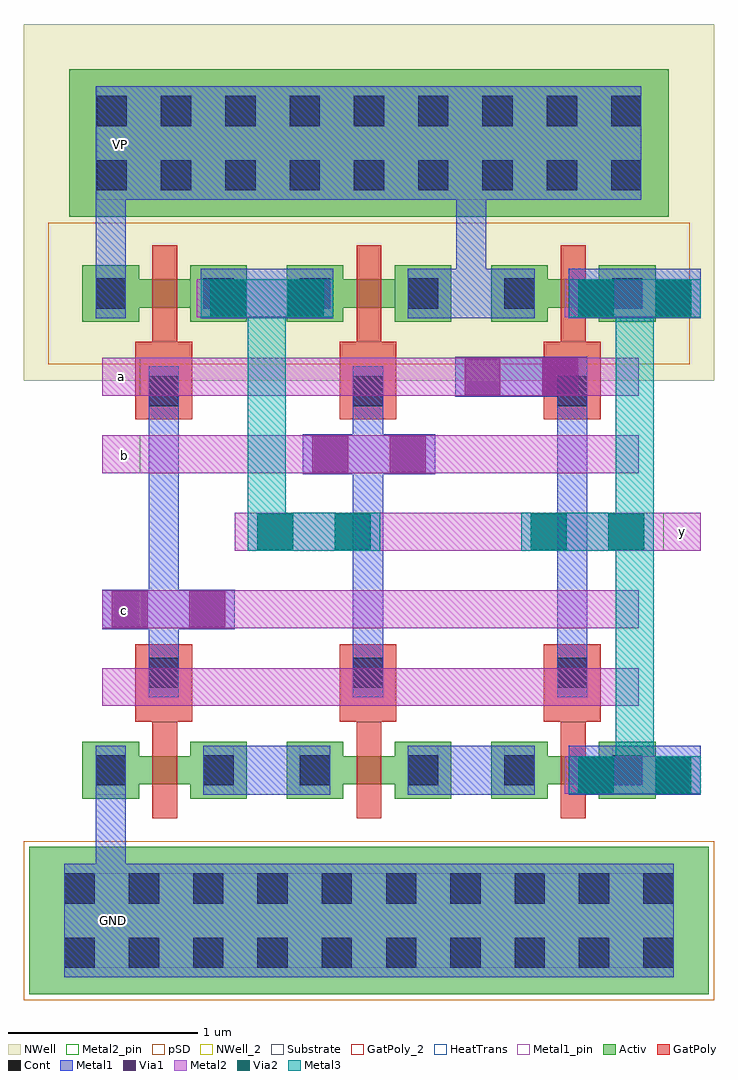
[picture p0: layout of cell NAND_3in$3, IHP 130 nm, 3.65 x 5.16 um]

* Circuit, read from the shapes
.subckt NAND_3in$3 GND VP a b c y
XM1 n1 c GND GND sg13_lv_nmos w=0.15u l=0.13u
XM2 n2 b n1 GND sg13_lv_nmos w=0.15u l=0.13u
XM3 y a n2 GND sg13_lv_nmos w=0.15u l=0.13u
XM4 y c VP VP sg13_lv_pmos w=0.15u l=0.13u
XM5 VP b y VP sg13_lv_pmos w=0.15u l=0.13u
XM6 y a VP VP sg13_lv_pmos w=0.15u l=0.13u
.ends

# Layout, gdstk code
from math import pi, radians
import gdstk
lib = gdstk.Library(unit=1e-6, precision=1e-09)
def R(c, l, rs):  # rectangles x0, y0, x1, y1
    for r in rs: c.add(gdstk.rectangle(r[:2], r[2:], *l))
def A(c, l, x, y, w, h, nx, ny, dx, dy):  # array of equal rectangles
    R(c, l, [(x+i*dx, y+j*dy, x+i*dx+w, y+j*dy+h) for i in range(nx) for j in range(ny)])
Activ = (1, 0)
GatPoly = (5, 0)
GatPoly_2 = (5, 2)
Cont = (6, 0)
Metal1 = (8, 0)
Metal1_pin = (8, 2)
Metal2 = (10, 0)
Metal2_pin = (10, 2)
pSD = (14, 0)
Via1 = (19, 0)
Via2 = (29, 0)
Metal3 = (30, 0)
NWell = (31, 0)
NWell_2 = (31, 2)
Substrate = (40, 0)
HeatTrans = (51, 0)

ntap1_8 = lib.new_cell('ntap1$8')
R(ntap1_8, Activ, [(0,0,3.17,0.78)])
A(ntap1_8, Cont, 0.145, 0.14, 0.16, 0.16, 9, 2, 0.34, 0.34)
R(ntap1_8, Metal1, [(0.145,0.09,3.025,0.69)])
R(ntap1_8, Metal1_pin, [(0.145,0.09,3.025,0.69), (0.145,0.14,3.025,0.64)])
R(ntap1_8, NWell, [(-0.24,-0.24,3.41,1.02), (0,0,3.17,0.78)])
R(ntap1_8, NWell_2, [(0,0,3.17,0.78)])
ntap1_8.add(gdstk.Label('well', (1.585,0.01), layer=63, texttype=0))
ntap1_8.add(gdstk.Label('well', (1.585,0.01), layer=31, texttype=0))

ptap1_9 = lib.new_cell('ptap1$9')
R(ptap1_9, Activ, [(0,0,3.59,0.78)])
A(ptap1_9, Cont, 0.185, 0.14, 0.16, 0.16, 10, 2, 0.34, 0.34)
R(ptap1_9, Metal1, [(0.185,0.09,3.405,0.69), (0.185,0.14,3.405,0.64)])
R(ptap1_9, Metal1_pin, [(0.185,0.14,3.405,0.64)])
R(ptap1_9, pSD, [(-0.03,-0.03,3.62,0.81)])
R(ptap1_9, Substrate, [(0,0,3.59,0.78)])
ptap1_9.add(gdstk.Label('sub!', (1.795,0.01), layer=63, texttype=0))
ptap1_9.add(gdstk.Label('sub!', (1.795,0.01), layer=40, texttype=0))

nmos_8 = lib.new_cell('nmos$8')
R(nmos_8, Activ, [(0,0,0.3,0.3), (0.57,0,0.87,0.3), (0,0.075,0.87,0.225)])
R(nmos_8, GatPoly, [(0.37,-0.105,0.5,0.405)])
R(nmos_8, GatPoly_2, [(0.37,-0.105,0.5,0.405)])
R(nmos_8, Cont, [(0.07,0.07,0.23,0.23), (0.64,0.07,0.8,0.23)])
R(nmos_8, Metal1, [(0.07,0.02,0.23,0.28), (0.64,0.02,0.8,0.28)])
R(nmos_8, Metal1_pin, [(0.07,0.02,0.23,0.28), (0.64,0.02,0.8,0.28)])
R(nmos_8, HeatTrans, [(0.37,-0.105,0.5,0.405)])
nmos_8.add(gdstk.Label('nmos', (0.435,0.15), layer=63, texttype=0))
nmos_8.add(gdstk.Label('nmos', (0.435,0.15), layer=51, texttype=0))

pmos_8 = lib.new_cell('pmos$8')
R(pmos_8, Activ, [(0,0,0.3,0.3), (0.57,0,0.87,0.3), (0,0.075,0.87,0.225)])
R(pmos_8, GatPoly, [(0.37,-0.105,0.5,0.405), (0.37,-0.105,0.5,0.405)])
R(pmos_8, Cont, [(0.07,0.07,0.23,0.23), (0.64,0.07,0.8,0.23)])
R(pmos_8, Metal1, [(0.07,0.02,0.23,0.28), (0.07,0.02,0.23,0.28), (0.64,0.02,0.8,0.28), (0.64,0.02,0.8,0.28)])
R(pmos_8, pSD, [(-0.18,-0.225,1.05,0.525)])
R(pmos_8, NWell, [(-0.31,-0.31,1.18,0.61)])
R(pmos_8, Substrate, [(0.57,0,0.87,0.3)])
R(pmos_8, HeatTrans, [(0.37,-0.105,0.5,0.405)])
pmos_8.add(gdstk.Label('pmos', (0.435,0.15), layer=63, texttype=0))
pmos_8.add(gdstk.Label('pmos', (0.435,0.15), layer=51, texttype=0))

via_39 = lib.new_cell('Via$39')
R(via_39, GatPoly, [(-0.15,-0.15,0.15,0.15)])
R(via_39, Cont, [(-0.08,-0.08,0.08,0.08)])
R(via_39, Metal1, [(-0.13,-0.08,0.13,0.08)])

via_2_8 = lib.new_cell('Via$2$8')
R(via_2_8, Metal1, [(-0.105,-0.35,0.105,0.35)])
R(via_2_8, Metal2, [(-0.1,-0.35,0.1,0.35)])
R(via_2_8, Via1, [(-0.095,-0.3,0.095,-0.11), (-0.095,0.11,0.095,0.3)])

via_8_6 = lib.new_cell('Via$8$6')
R(via_8_6, Metal2, [(-0.35,-0.1,0.35,0.1)])
R(via_8_6, Via2, [(-0.3,-0.095,-0.11,0.095), (0.11,-0.095,0.3,0.095)])
R(via_8_6, Metal3, [(-0.35,-0.1,0.35,0.1)])

via_4_8 = lib.new_cell('Via$4$8')
R(via_4_8, Metal2, [(-0.1,-0.35,0.1,0.35)])
R(via_4_8, Via2, [(-0.095,-0.3,0.095,-0.11), (-0.095,0.11,0.095,0.3)])
R(via_4_8, Metal3, [(-0.1,-0.35,0.1,0.35)])

via_6_7 = lib.new_cell('Via$6$7')
R(via_6_7, Metal1, [(-0.35,-0.105,0.35,0.105)])
R(via_6_7, Metal2, [(-0.35,-0.1,0.35,0.1)])
R(via_6_7, Via1, [(-0.3,-0.095,-0.11,0.095), (0.11,-0.095,0.3,0.095)])

nand_3in_3 = lib.new_cell('NAND_3in$3')
A(nand_3in_3, GatPoly, 9.375, 7.165, 0.3, 0.11, 3, 2, 1.08, 1.9)
R(nand_3in_3, Metal1, [(9.735,6.78,10.405,7.04), (10.815,6.78,11.485,7.04), (11.665,6.78,12.365,7.04), (9.72,9.3,10.42,9.56), (10.815,9.3,11.485,9.56), (11.665,9.3,12.365,9.56)])
R(nand_3in_3, Metal1_pin, [(9.16,6.015,9.36,6.215), (9.325,10.12,9.525,10.32)])
R(nand_3in_3, Metal2_pin, [(9.2,7.66,9.4,7.86), (12.165,8.07,12.365,8.27), (9.2,8.48,9.4,8.68), (9.2,8.89,9.4,9.09)])
nand_3in_3.add(gdstk.FlexPath([(11.685,7.555),(11.685,8.785)], 0.16, ends="flush", simple_path=True, layer=8, datatype=0))  # Metal1
nand_3in_3.add(gdstk.FlexPath([(11.15,9.56),(11.15,9.925)], 0.16, ends="flush", simple_path=True, layer=8, datatype=0))  # Metal1
nand_3in_3.add(gdstk.FlexPath([(9.245,9.56),(9.245,10.525)], 0.16, ends="flush", simple_path=True, layer=8, datatype=0))  # Metal1
nand_3in_3.add(gdstk.FlexPath([(9.245,6.78),(9.245,6.415)], 0.16, ends="flush", simple_path=True, layer=8, datatype=0))  # Metal1
nand_3in_3.add(gdstk.FlexPath([(9.525,7.555),(9.525,8.785)], 0.16, ends="flush", simple_path=True, layer=8, datatype=0))  # Metal1
nand_3in_3.add(gdstk.FlexPath([(10.605,7.555),(10.605,8.785)], 0.16, ends="flush", simple_path=True, layer=8, datatype=0))  # Metal1
nand_3in_3.add(gdstk.FlexPath([(9.9,8.17),(12.365,8.17)], 0.2, ends="flush", simple_path=True, layer=10, datatype=0))  # Metal2
nand_3in_3.add(gdstk.FlexPath([(11.81,9.405),(11.645,9.405)], 0.2, ends="flush", simple_path=True, layer=10, datatype=0))  # Metal2
nand_3in_3.add(gdstk.FlexPath([(11.81,6.885),(11.645,6.885)], 0.2, ends="flush", simple_path=True, layer=10, datatype=0))  # Metal2
nand_3in_3.add(gdstk.FlexPath([(9.2,7.76),(12.035,7.76)], 0.2, ends="flush", simple_path=True, layer=10, datatype=0))  # Metal2
nand_3in_3.add(gdstk.FlexPath([(9.2,7.35),(12.035,7.35)], 0.2, ends="flush", simple_path=True, layer=10, datatype=0))  # Metal2
nand_3in_3.add(gdstk.FlexPath([(9.2,8.99),(12.035,8.99)], 0.2, ends="flush", simple_path=True, layer=10, datatype=0))  # Metal2
nand_3in_3.add(gdstk.FlexPath([(9.2,8.58),(12.035,8.58)], 0.2, ends="flush", simple_path=True, layer=10, datatype=0))  # Metal2
nand_3in_3.add(gdstk.FlexPath([(9.865,9.405),(9.7,9.405)], 0.2, ends="flush", simple_path=True, layer=10, datatype=0))  # Metal2
nand_3in_3.add(gdstk.FlexPath([(10.43,8.58),(10.43,8.58)], 0.2, ends="flush", simple_path=True, layer=10, datatype=0))  # Metal2
nand_3in_3.add(gdstk.FlexPath([(12.015,6.885),(12.015,8.17)], 0.2, ends="flush", simple_path=True, layer=30, datatype=0))  # Metal3
nand_3in_3.add(gdstk.FlexPath([(12.015,9.405),(12.015,8.17)], 0.2, ends="flush", simple_path=True, layer=30, datatype=0))  # Metal3
nand_3in_3.add(gdstk.FlexPath([(10.07,9.305),(10.07,8.07)], 0.2, ends="flush", simple_path=True, layer=30, datatype=0))  # Metal3
nand_3in_3.add(gdstk.Reference(ntap1_8, (9.025,9.835)))
nand_3in_3.add(gdstk.Reference(ptap1_9, (8.815,5.725)))
nand_3in_3.add(gdstk.Reference(nmos_8, (10.175,6.76)))
nand_3in_3.add(gdstk.Reference(pmos_8, (10.175,9.28)))
nand_3in_3.add(gdstk.Reference(nmos_8, (9.095,6.76)))
nand_3in_3.add(gdstk.Reference(pmos_8, (9.095,9.28)))
nand_3in_3.add(gdstk.Reference(via_39, (9.525,8.915), rotation=pi/2))
nand_3in_3.add(gdstk.Reference(via_39, (10.605,8.915), rotation=pi/2))
nand_3in_3.add(gdstk.Reference(via_39, (10.605,7.425), rotation=3*pi/2))
nand_3in_3.add(gdstk.Reference(via_39, (9.525,7.425), rotation=3*pi/2))
nand_3in_3.add(gdstk.Reference(via_2_8, (10.61,8.58), rotation=3*pi/2))
nand_3in_3.add(gdstk.Reference(via_8_6, (10.32,8.17)))
nand_3in_3.add(gdstk.Reference(via_2_8, (10.07,9.405), rotation=3*pi/2))
nand_3in_3.add(gdstk.Reference(via_4_8, (10.07,9.405), rotation=3*pi/2))
nand_3in_3.add(gdstk.Reference(via_6_7, (11.415,8.99)))
nand_3in_3.add(gdstk.Reference(pmos_8, (11.255,9.28)))
nand_3in_3.add(gdstk.Reference(nmos_8, (11.255,6.76)))
nand_3in_3.add(gdstk.Reference(via_39, (11.685,8.915), rotation=pi/2))
nand_3in_3.add(gdstk.Reference(via_39, (11.685,7.425), rotation=3*pi/2))
nand_3in_3.add(gdstk.Reference(via_2_8, (9.55,7.76), rotation=3*pi/2))
nand_3in_3.add(gdstk.Reference(via_2_8, (12.015,9.405), rotation=3*pi/2))
nand_3in_3.add(gdstk.Reference(via_4_8, (12.015,9.405), rotation=3*pi/2))
nand_3in_3.add(gdstk.Reference(via_2_8, (12.015,6.885), rotation=3*pi/2))
nand_3in_3.add(gdstk.Reference(via_4_8, (12.015,6.885), rotation=3*pi/2))
nand_3in_3.add(gdstk.Reference(via_8_6, (11.765,8.17)))
nand_3in_3.add(gdstk.Label('c', (9.315,7.755), layer=10, texttype=25))
nand_3in_3.add(gdstk.Label('y', (12.265,8.17), layer=10, texttype=25))
nand_3in_3.add(gdstk.Label('b', (9.315,8.575), layer=10, texttype=25))
nand_3in_3.add(gdstk.Label('a', (9.3,8.99), layer=10, texttype=25))
nand_3in_3.add(gdstk.Label('VP', (9.295,10.22), layer=8, texttype=25))
nand_3in_3.add(gdstk.Label('GND', (9.26,6.115), layer=8, texttype=25))

lib.write_gds('NAND_3in_3.gds')
